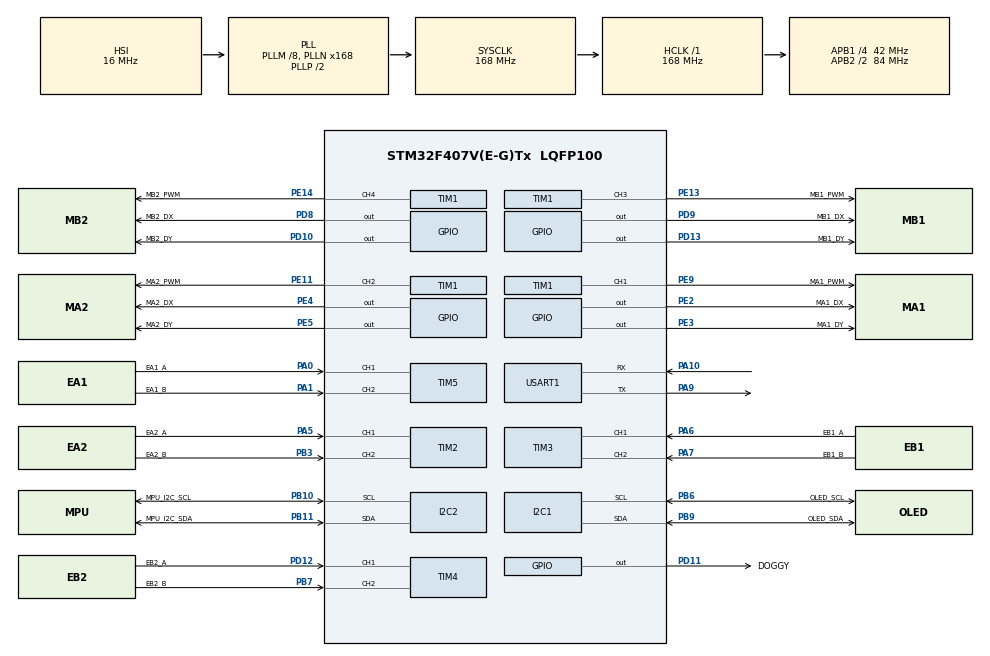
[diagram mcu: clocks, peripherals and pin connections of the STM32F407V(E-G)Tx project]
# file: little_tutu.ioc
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Mcu.Family=STM32F4
Mcu.Name=STM32F407V(E-G)Tx
Mcu.Package=LQFP100
NVIC.PriorityGroup=NVIC_PRIORITYGROUP_4
PA0-WKUP.GPIO_Label=EA1_A
PA0-WKUP.Signal=S_TIM5_CH1
PA1.GPIO_Label=EA1_B
PA1.Signal=S_TIM5_CH2
PA10.Mode=Asynchronous
PA10.Signal=USART1_RX
PA13.Mode=Serial_Wire
PA13.Signal=SYS_JTMS-SWDIO
PA14.Mode=Serial_Wire
PA14.Signal=SYS_JTCK-SWCLK
PA5.GPIO_Label=EA2_A
PA5.Signal=S_TIM2_CH1_ETR
PA6.GPIO_Label=EB1_A
PA6.Signal=S_TIM3_CH1
PA7.GPIO_Label=EB1_B
PA7.Signal=S_TIM3_CH2
PA9.Mode=Asynchronous
PA9.Signal=USART1_TX
PB10.GPIO_Label=MPU_I2C_SCL
PB10.Mode=I2C
PB10.Signal=I2C2_SCL
PB11.GPIO_Label=MPU_I2C_SDA
PB11.Mode=I2C
PB11.Signal=I2C2_SDA
PB3.GPIO_Label=EA2_B
PB3.Signal=S_TIM2_CH2
PB6.GPIO_Label=OLED_SCL
PB6.Mode=I2C
PB6.Signal=I2C1_SCL
PB7.GPIO_Label=EB2_B
PB7.Signal=S_TIM4_CH2
PB9.GPIO_Label=OLED_SDA
PB9.Mode=I2C
PB9.Signal=I2C1_SDA
PC14-OSC32_IN.Mode=LSE-External-Oscillator
PC14-OSC32_IN.Signal=RCC_OSC32_IN
PC15-OSC32_OUT.Mode=LSE-External-Oscillator
PC15-OSC32_OUT.Signal=RCC_OSC32_OUT
PD10.GPIO_Label=MB2_DY
PD10.Signal=GPIO_Output
PD11.GPIO_Label=DOGGY
PD11.Signal=GPIO_Output
PD12.GPIO_Label=EB2_A
PD12.Signal=S_TIM4_CH1
PD13.GPIO_Label=MB1_DY
PD13.Signal=GPIO_Output
PD8.GPIO_Label=MB2_DX
PD8.Signal=GPIO_Output
PD9.GPIO_Label=MB1_DX
PD9.Signal=GPIO_Output
PE11.GPIO_Label=MA2_PWM
PE11.Signal=S_TIM1_CH2
PE13.GPIO_Label=MB1_PWM
PE13.Signal=S_TIM1_CH3
PE14.GPIO_Label=MB2_PWM
PE14.Signal=S_TIM1_CH4
PE2.GPIO_Label=MA1_DX
PE2.Signal=GPIO_Output
PE3.GPIO_Label=MA1_DY
PE3.Signal=GPIO_Output
PE4.GPIO_Label=MA2_DX
PE4.Signal=GPIO_Output
PE5.GPIO_Label=MA2_DY
PE5.Signal=GPIO_Output
PE9.GPIO_Label=MA1_PWM
PE9.Signal=S_TIM1_CH1
PH0-OSC_IN.Mode=HSE-External-Oscillator
PH0-OSC_IN.Signal=RCC_OSC_IN
PH1-OSC_OUT.Mode=HSE-External-Oscillator
PH1-OSC_OUT.Signal=RCC_OSC_OUT
ProjectManager.HeapSize=0x200
ProjectManager.StackSize=0x400
ProjectManager.TargetToolchain=MDK-ARM V5
RCC.48MHZClocksFreq_Value=84000000
RCC.AHBFreq_Value=168000000
RCC.APB1CLKDivider=RCC_HCLK_DIV4
RCC.APB1Freq_Value=42000000
RCC.APB1TimFreq_Value=84000000
RCC.APB2CLKDivider=RCC_HCLK_DIV2
RCC.APB2Freq_Value=84000000
RCC.APB2TimFreq_Value=168000000
RCC.CortexFreq_Value=168000000
RCC.HCLKFreq_Value=168000000
RCC.HSE_VALUE=25000000
RCC.HSI_VALUE=16000000
RCC.PLLM=8
RCC.PLLN=168
RCC.SYSCLKFreq_VALUE=168000000
RCC.SYSCLKSource=RCC_SYSCLKSOURCE_PLLCLK
RCC.VCOOutputFreq_Value=336000000
SH.S_TIM1_CH1.0=TIM1_CH1,PWM Generation1 CH1
SH.S_TIM1_CH2.0=TIM1_CH2,PWM Generation2 CH2
SH.S_TIM1_CH3.0=TIM1_CH3,PWM Generation3 CH3
SH.S_TIM1_CH4.0=TIM1_CH4,PWM Generation4 CH4
SH.S_TIM2_CH1_ETR.0=TIM2_CH1,Encoder_Interface
SH.S_TIM2_CH2.0=TIM2_CH2,Encoder_Interface
SH.S_TIM3_CH1.0=TIM3_CH1,Encoder_Interface
SH.S_TIM3_CH2.0=TIM3_CH2,Encoder_Interface
SH.S_TIM4_CH1.0=TIM4_CH1,Encoder_Interface
SH.S_TIM4_CH2.0=TIM4_CH2,Encoder_Interface
SH.S_TIM5_CH1.0=TIM5_CH1,Encoder_Interface
SH.S_TIM5_CH2.0=TIM5_CH2,Encoder_Interface
TIM1.Channel-PWM\ Generation1\ CH1=TIM_CHANNEL_1
TIM1.Channel-PWM\ Generation2\ CH2=TIM_CHANNEL_2
TIM1.Channel-PWM\ Generation3\ CH3=TIM_CHANNEL_3
TIM1.Channel-PWM\ Generation4\ CH4=TIM_CHANNEL_4
TIM1.Period=2000
TIM1.Prescaler=3
TIM1.Pulse-PWM\ Generation1\ CH1=2000
TIM1.Pulse-PWM\ Generation2\ CH2=2000
TIM1.Pulse-PWM\ Generation3\ CH3=2000
TIM1.Pulse-PWM\ Generation4\ CH4=2000
TIM6.Prescaler=168-1
USART1.VirtualMode=VM_ASYNC
VP_TIM6_VS_ClockSourceINT.Mode=Enable_Timer
board=custom

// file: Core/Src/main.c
/* USER CODE BEGIN Header */
/**
  ******************************************************************************
  * @file           : main.c
  * @brief          : Main program body
  ******************************************************************************
  * @attention
  *
  * Copyright (c) 2024 STMicroelectronics.
  * All rights reserved.
  *
  * This software is licensed under terms that can be found in the LICENSE file
  * in the root directory of this software component.
  * If no LICENSE file comes with this software, it is provided AS-IS.
  *
  ******************************************************************************
  */
/* USER CODE END Header */
#include "main.h"
#include "i2c.h"
#include "tim.h"
#include "usart.h"
#include "gpio.h"

/* USER CODE BEGIN Includes */
#include "stdio.h"
#include "oled_u8g2.h"
#include "mpu6050.h"
#include "inv_mpu.h"
#include "inv_mpu_dmp_motion_driver.h"
/* USER CODE END Includes */

void SystemClock_Config(void);

int main(void)
{

  /* MCU Configuration--------------------------------------------------------*/

  /* Reset of all peripherals, Initializes the Flash interface and the Systick. */
  HAL_Init();

  /* USER CODE BEGIN Init */
	HAL_Delay(100); // for oled

  /* USER CODE END Init */

  /* Configure the system clock */
  SystemClock_Config();

  /* Initialize all configured peripherals */
  MX_GPIO_Init();
  MX_TIM1_Init();
  MX_TIM2_Init();
  MX_TIM3_Init();
  MX_TIM4_Init();
  MX_TIM5_Init();
  MX_I2C1_Init();
  MX_USART1_UART_Init();
  MX_I2C2_Init();
  MX_TIM6_Init();
  /* USER CODE BEGIN 2 */
  // HAL_UART_Receive_IT(&huart1, (uint8_t *)RxBuffer, RXBUF_LEN);// �??用接�??

  OLED_U8G2_init();
  MPU_Init();					       //��ʼ��MPU6050
  uint8_t res = 0;
  do{
    res = mpu_dmp_init();
		printf("mpu_dmp_init code: %d\r\n",res);
	}while (res);
  /* USER CODE END 2 */

  /* Infinite loop */
  while (1)
  {

    /* USER CODE BEGIN 3 */
    //		HAL_UART_Transmit(&huart1,(uint8_t *)"hello world!\r\n",14,HAL_MAX_DELAY);
		// printf("bbbbbbb\r\n");
		HAL_GPIO_TogglePin(DOGGY_GPIO_Port, DOGGY_Pin);

    // OLED_U8G2_draw_test();
    imu_data_t imu_data;
    res= mpu_dmp_get_data(&imu_data);
    if(!res)
		{
			imu_data.temp = MPU_Get_Temperature();							  //�õ��¶�ֵ
			// MPU_Get_Accelerometer(&imu_data);	//�õ����ٶȴ���������
			// MPU_Get_Gyroscope(&imu_data);	//�õ�����������

			// printf("Pitch:  %f\r\n",(float)pitch);
			// printf("Roll:  %f\r\n",(float)roll);
			// printf("yaw:  %f\r\n",(float)yaw);
			printf("temp:  %.02f\r\n",((float)imu_data.temp)/100);
			printf("-----------------\r\n");
		}else {
      printf("mpu_dmp_get_data fail: %d\r\n",res);
    }
    // OLED_U8G2_draw_buf(RxBuffer, RXBUF_LEN);
    OLED_U8G2_draw_mpu6050(&imu_data);

		HAL_Delay(100);
  }
  /* USER CODE END 3 */
}

void SystemClock_Config(void)
{
  RCC_OscInitTypeDef RCC_OscInitStruct = {0};
  RCC_ClkInitTypeDef RCC_ClkInitStruct = {0};

  /** Configure the main internal regulator output voltage
  */
  __HAL_RCC_PWR_CLK_ENABLE();
  __HAL_PWR_VOLTAGESCALING_CONFIG(PWR_REGULATOR_VOLTAGE_SCALE1);

  /** Initializes the RCC Oscillators according to the specified parameters
  * in the RCC_OscInitTypeDef structure.
  */
  RCC_OscInitStruct.OscillatorType = RCC_OSCILLATORTYPE_HSI;
  RCC_OscInitStruct.HSIState = RCC_HSI_ON;
  RCC_OscInitStruct.HSICalibrationValue = RCC_HSICALIBRATION_DEFAULT;
  RCC_OscInitStruct.PLL.PLLState = RCC_PLL_ON;
  RCC_OscInitStruct.PLL.PLLSource = RCC_PLLSOURCE_HSI;
  RCC_OscInitStruct.PLL.PLLM = 8;
  RCC_OscInitStruct.PLL.PLLN = 168;
  RCC_OscInitStruct.PLL.PLLP = RCC_PLLP_DIV2;
  RCC_OscInitStruct.PLL.PLLQ = 4;
  if (HAL_RCC_OscConfig(&RCC_OscInitStruct) != HAL_OK)
  {
    Error_Handler();
  }

  /** Initializes the CPU, AHB and APB buses clocks
  */
  RCC_ClkInitStruct.ClockType = RCC_CLOCKTYPE_HCLK|RCC_CLOCKTYPE_SYSCLK
                              |RCC_CLOCKTYPE_PCLK1|RCC_CLOCKTYPE_PCLK2;
  RCC_ClkInitStruct.SYSCLKSource = RCC_SYSCLKSOURCE_PLLCLK;
  RCC_ClkInitStruct.AHBCLKDivider = RCC_SYSCLK_DIV1;
  RCC_ClkInitStruct.APB1CLKDivider = RCC_HCLK_DIV4;
  RCC_ClkInitStruct.APB2CLKDivider = RCC_HCLK_DIV2;

  if (HAL_RCC_ClockConfig(&RCC_ClkInitStruct, FLASH_LATENCY_5) != HAL_OK)
  {
    Error_Handler();
  }
}

void Error_Handler(void)
{
  __disable_irq();
  while (1)
  {
  }
}
